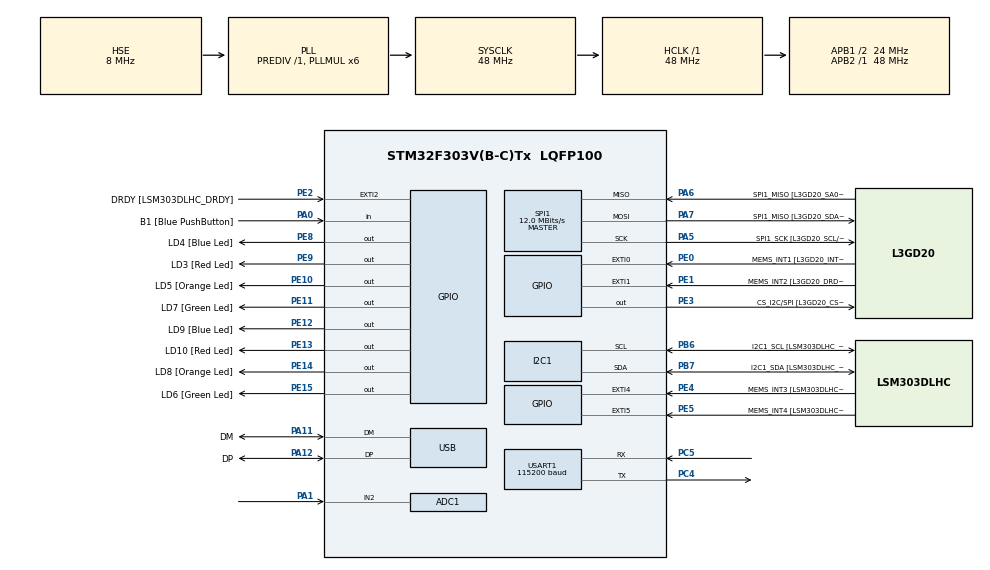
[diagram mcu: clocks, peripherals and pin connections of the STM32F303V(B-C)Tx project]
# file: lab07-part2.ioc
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ADC1.Channel-0\#ChannelRegularConversion=ADC_CHANNEL_2
ADC1.ContinuousConvMode=ENABLE
ADC1.NbrOfConversionFlag=1
ADC1.Offset-0\#ChannelRegularConversion=0
ADC1.OffsetNumber-0\#ChannelRegularConversion=ADC_OFFSET_NONE
ADC1.Rank-0\#ChannelRegularConversion=1
ADC1.SamplingTime-0\#ChannelRegularConversion=ADC_SAMPLETIME_181CYCLES_5
ADC1.SamplingTimeOPAMP-0\#ChannelRegularConversion=ADC_SAMPLETIME_19CYCLES_5
ADC1.master=1
I2C1.Timing=0x2000090E
I2C1.Timing-I2C=0x2000090E
Mcu.Family=STM32F3
Mcu.Name=STM32F303V(B-C)Tx
Mcu.Package=LQFP100
NVIC.ADC1_2_IRQn=true\:0\:0\:false\:false\:true\:true\:true\:true
NVIC.PriorityGroup=NVIC_PRIORITYGROUP_0
NVIC.USB_LP_CAN_RX0_IRQn=true\:0\:0\:false\:false\:true\:false\:true\:true
PA0.GPIO_Label=B1 [Blue PushButton]
PA0.Signal=GPIO_Input
PA1.Mode=IN2-Single-Ended
PA1.Signal=ADC1_IN2
PA11.GPIO_Label=DM
PA11.Mode=Device
PA11.Signal=USB_DM
PA12.GPIO_Label=DP
PA12.Mode=Device
PA12.Signal=USB_DP
PA13.GPIO_Label=SWDIO
PA13.Mode=Serial_Wire
PA13.Signal=SYS_JTMS-SWDIO
PA14.GPIO_Label=SWCLK
PA14.Mode=Serial_Wire
PA14.Signal=SYS_JTCK-SWCLK
PA5.GPIO_Label=SPI1_SCK [L3GD20_SCL/SPC]
PA5.Mode=Full_Duplex_Master
PA5.Signal=SPI1_SCK
PA6.GPIO_Label=SPI1_MISO [L3GD20_SA0/SDO]
PA6.Mode=Full_Duplex_Master
PA6.Signal=SPI1_MISO
PA7.GPIO_Label=SPI1_MISO [L3GD20_SDA/SDI/SDO]
PA7.Mode=Full_Duplex_Master
PA7.Signal=SPI1_MOSI
PB3.GPIO_Label=SWO
PB3.Signal=SYS_JTDO-TRACESWO
PB6.GPIO_Label=I2C1_SCL [LSM303DLHC_SCL]
PB6.GPIO_Pu=GPIO_PULLUP
PB6.Mode=I2C
PB6.Signal=I2C1_SCL
PB7.GPIO_Label=I2C1_SDA [LSM303DLHC_SDA]
PB7.GPIO_Pu=GPIO_PULLUP
PB7.Mode=I2C
PB7.Signal=I2C1_SDA
PC14-OSC32_IN.GPIO_Label=OSC32_IN
PC14-OSC32_IN.Signal=RCC_OSC32_IN
PC15-OSC32_OUT.GPIO_Label=OSC32_OUT
PC15-OSC32_OUT.Signal=RCC_OSC32_OUT
PC4.Mode=Asynchronous
PC4.Signal=USART1_TX
PC5.Mode=Asynchronous
PC5.Signal=USART1_RX
PE0.GPIO_Label=MEMS_INT1 [L3GD20_INT1]
PE0.GPIO_ModeDefaultEXTI=GPIO_MODE_EVT_RISING
PE0.Signal=GPXTI0
PE1.GPIO_Label=MEMS_INT2 [L3GD20_DRDY/INT2]
PE1.GPIO_ModeDefaultEXTI=GPIO_MODE_EVT_RISING
PE1.Signal=GPXTI1
PE10.GPIO_Label=LD5 [Orange Led]
PE10.Signal=GPIO_Output
PE11.GPIO_Label=LD7 [Green Led]
PE11.Signal=GPIO_Output
PE12.GPIO_Label=LD9 [Blue Led]
PE12.Signal=GPIO_Output
PE13.GPIO_Label=LD10 [Red Led]
PE13.Signal=GPIO_Output
PE14.GPIO_Label=LD8 [Orange Led]
PE14.Signal=GPIO_Output
PE15.GPIO_Label=LD6 [Green Led]
PE15.Signal=GPIO_Output
PE2.GPIO_Label=DRDY [LSM303DLHC_DRDY]
PE2.GPIO_ModeDefaultEXTI=GPIO_MODE_EVT_RISING
PE2.Signal=GPXTI2
PE3.GPIO_Label=CS_I2C/SPI [L3GD20_CS_I2C/SPI]
PE3.Signal=GPIO_Output
PE4.GPIO_Label=MEMS_INT3 [LSM303DLHC_INT1]
PE4.GPIO_ModeDefaultEXTI=GPIO_MODE_EVT_RISING
PE4.Signal=GPXTI4
PE5.GPIO_Label=MEMS_INT4 [LSM303DLHC_INT2]
PE5.GPIO_ModeDefaultEXTI=GPIO_MODE_EVT_RISING
PE5.Signal=GPXTI5
PE8.GPIO_Label=LD4 [Blue Led]
PE8.Signal=GPIO_Output
PE9.GPIO_Label=LD3 [Red Led]
PE9.Signal=GPIO_Output
PF0-OSC_IN.GPIO_Label=OSC_IN
PF0-OSC_IN.Mode=HSE-External-Clock-Source
PF0-OSC_IN.Signal=RCC_OSC_IN
PF1-OSC_OUT.GPIO_Label=OSC_OUT
PF1-OSC_OUT.Signal=RCC_OSC_OUT
ProjectManager.HeapSize=0x200
ProjectManager.StackSize=0x400
ProjectManager.TargetToolchain=CMake
RCC.AHBFreq_Value=48000000
RCC.APB1CLKDivider=RCC_HCLK_DIV2
RCC.APB1Freq_Value=24000000
RCC.APB1TimFreq_Value=48000000
RCC.APB2Freq_Value=48000000
RCC.APB2TimFreq_Value=48000000
RCC.CortexFreq_Value=48000000
RCC.HCLKFreq_Value=48000000
RCC.HSE_VALUE=8000000
RCC.HSI_VALUE=8000000
RCC.LSE_VALUE=32768
RCC.PLLMUL=RCC_PLL_MUL6
RCC.SYSCLKFreq_VALUE=48000000
RCC.SYSCLKSourceVirtual=RCC_SYSCLKSOURCE_PLLCLK
RCC.USBFreq_Value=48000000
SPI1.BaudRatePrescaler=SPI_BAUDRATEPRESCALER_4
SPI1.BaudRatePrescaler-Full_Duplex_Master=SPI_BAUDRATEPRESCALER_2
SPI1.CalculateBaudRate=12.0 MBits/s
SPI1.CalculateBaudRate-Full_Duplex_Master=24.0 MBits/s
SPI1.Direction=SPI_DIRECTION_2LINES
SPI1.Mode=SPI_MODE_MASTER
SPI1.Mode-Full_Duplex_Master=SPI_MODE_MASTER
SPI1.VirtualType=VM_MASTER
USART1.BaudRate=115200
USART1.VirtualMode-Asynchronous=VM_ASYNC
USB_DEVICE.CLASS_NAME_FS=CDC
USB_DEVICE.VirtualMode=Cdc
USB_DEVICE.VirtualModeFS=Cdc_FS
VP_USB_DEVICE_VS_USB_DEVICE_CDC_FS.Mode=CDC_FS
board=STM32F3DISCOVERY

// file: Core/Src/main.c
/* USER CODE BEGIN Header */
/**
  ******************************************************************************
  * @file           : main.c
  * @brief          : Main program body
  ******************************************************************************
  * @attention
  *
  * Copyright (c) 2026 STMicroelectronics.
  * All rights reserved.
  *
  * This software is licensed under terms that can be found in the LICENSE file
  * in the root directory of this software component.
  * If no LICENSE file comes with this software, it is provided AS-IS.
  *
  ******************************************************************************
  */
/* USER CODE END Header */
#include "main.h"
#include "usb_device.h"

/* USER CODE BEGIN Includes */
#include <stdio.h>

#if __has_include("arm_math.h")
#include "arm_math.h"
#else
typedef float float32_t;

static float32_t arm_mean_f32(const float32_t *pSrc, uint32_t blockSize, float32_t *pResult)
{
    float32_t sum = 0.0f;

    if (pResult == NULL)
    {
        return 0.0f;
    }

    if (pSrc == NULL || blockSize == 0U)
    {
        *pResult = 0.0f;
        return 0.0f;
    }

    for (uint32_t i = 0; i < blockSize; ++i)
    {
        sum += pSrc[i];
    }

    *pResult = sum / (float32_t)blockSize;
    return *pResult;
}
#endif
/* USER CODE END Includes */

/* USER CODE BEGIN PD */
#define FILTER_LEN 10
/* USER CODE END PD */

ADC_HandleTypeDef hadc1;

I2C_HandleTypeDef hi2c1;

SPI_HandleTypeDef hspi1;

UART_HandleTypeDef huart1;

/* USER CODE BEGIN PV */
float32_t inputBuffer[FILTER_LEN] = {0};
float32_t filteredValue = 0;

uint32_t sampleIndex = 0;
uint32_t sampleCount = 0;

volatile uint32_t raw_mV = 0;
volatile uint32_t filtered_mV = 0;
volatile uint8_t dataReady = 0;
/* USER CODE END PV */

void SystemClock_Config(void);
static void MX_GPIO_Init(void);
static void MX_ADC1_Init(void);
static void MX_I2C1_Init(void);
static void MX_SPI1_Init(void);
static void MX_USART1_UART_Init(void);

/* USER CODE BEGIN 0 */

int _write(int file, char *ptr, int len)
{
  HAL_UART_Transmit(&huart1, (uint8_t*)ptr,len, HAL_MAX_DELAY);
  return len;
}

void apply_moving_average(float32_t new_sample)
{
    inputBuffer[sampleIndex] = new_sample;
    sampleIndex = (sampleIndex + 1) % FILTER_LEN;

    if (sampleCount < FILTER_LEN)
    {
        sampleCount++;
    }

    arm_mean_f32(inputBuffer, sampleCount, &filteredValue);
}

void HAL_ADC_ConvCpltCallback(ADC_HandleTypeDef *hadc)
{
    if (hadc->Instance == ADC1)
    {
        uint32_t adcValue = HAL_ADC_GetValue(hadc);

        float32_t voltage =
            adcValue * 3.3f / 4095.0f;

        apply_moving_average(voltage);

        raw_mV = (uint32_t)(voltage * 1000.0f);
        filtered_mV =
            (uint32_t)(filteredValue * 1000.0f);

        dataReady = 1;
    }
}

/* USER CODE END 0 */

int main(void)
{

  /* MCU Configuration--------------------------------------------------------*/

  /* Reset of all peripherals, Initializes the Flash interface and the Systick. */
  HAL_Init();

  /* Configure the system clock */
  SystemClock_Config();

  /* Initialize all configured peripherals */
  MX_GPIO_Init();
  MX_ADC1_Init();
  MX_I2C1_Init();
  MX_SPI1_Init();
  MX_USART1_UART_Init();
  MX_USB_DEVICE_Init();
  /* USER CODE BEGIN 2 */
HAL_ADCEx_Calibration_Start(&hadc1, ADC_SINGLE_ENDED);
HAL_ADC_Start_IT(&hadc1);
  /* USER CODE END 2 */

  /* Infinite loop */
  while (1)
  {

    /* USER CODE BEGIN 3 */
    if (dataReady)
{
    uint32_t raw;
    uint32_t filtered;

    __disable_irq();

    raw = raw_mV;
    filtered = filtered_mV;
    dataReady = 0;

    __enable_irq();

    printf("%lu,%lu\r\n",
           (unsigned long)raw,
           (unsigned long)filtered);
}

  }
  /* USER CODE END 3 */
}

void SystemClock_Config(void)
{
  RCC_OscInitTypeDef RCC_OscInitStruct = {0};
  RCC_ClkInitTypeDef RCC_ClkInitStruct = {0};
  RCC_PeriphCLKInitTypeDef PeriphClkInit = {0};

  /** Initializes the RCC Oscillators according to the specified parameters
  * in the RCC_OscInitTypeDef structure.
  */
  RCC_OscInitStruct.OscillatorType = RCC_OSCILLATORTYPE_HSI|RCC_OSCILLATORTYPE_HSE;
  RCC_OscInitStruct.HSEState = RCC_HSE_BYPASS;
  RCC_OscInitStruct.HSEPredivValue = RCC_HSE_PREDIV_DIV1;
  RCC_OscInitStruct.HSIState = RCC_HSI_ON;
  RCC_OscInitStruct.HSICalibrationValue = RCC_HSICALIBRATION_DEFAULT;
  RCC_OscInitStruct.PLL.PLLState = RCC_PLL_ON;
  RCC_OscInitStruct.PLL.PLLSource = RCC_PLLSOURCE_HSE;
  RCC_OscInitStruct.PLL.PLLMUL = RCC_PLL_MUL6;
  if (HAL_RCC_OscConfig(&RCC_OscInitStruct) != HAL_OK)
  {
    Error_Handler();
  }

  /** Initializes the CPU, AHB and APB buses clocks
  */
  RCC_ClkInitStruct.ClockType = RCC_CLOCKTYPE_HCLK|RCC_CLOCKTYPE_SYSCLK
                              |RCC_CLOCKTYPE_PCLK1|RCC_CLOCKTYPE_PCLK2;
  RCC_ClkInitStruct.SYSCLKSource = RCC_SYSCLKSOURCE_PLLCLK;
  RCC_ClkInitStruct.AHBCLKDivider = RCC_SYSCLK_DIV1;
  RCC_ClkInitStruct.APB1CLKDivider = RCC_HCLK_DIV2;
  RCC_ClkInitStruct.APB2CLKDivider = RCC_HCLK_DIV1;

  if (HAL_RCC_ClockConfig(&RCC_ClkInitStruct, FLASH_LATENCY_1) != HAL_OK)
  {
    Error_Handler();
  }
  PeriphClkInit.PeriphClockSelection = RCC_PERIPHCLK_USB|RCC_PERIPHCLK_USART1
                              |RCC_PERIPHCLK_I2C1|RCC_PERIPHCLK_ADC12;
  PeriphClkInit.Usart1ClockSelection = RCC_USART1CLKSOURCE_PCLK2;
  PeriphClkInit.Adc12ClockSelection = RCC_ADC12PLLCLK_DIV1;
  PeriphClkInit.I2c1ClockSelection = RCC_I2C1CLKSOURCE_HSI;
  PeriphClkInit.USBClockSelection = RCC_USBCLKSOURCE_PLL;
  if (HAL_RCCEx_PeriphCLKConfig(&PeriphClkInit) != HAL_OK)
  {
    Error_Handler();
  }
}

static void MX_ADC1_Init(void)
{

  ADC_MultiModeTypeDef multimode = {0};
  ADC_ChannelConfTypeDef sConfig = {0};

  /** Common config
  */
  hadc1.Instance = ADC1;
  hadc1.Init.ClockPrescaler = ADC_CLOCK_ASYNC_DIV1;
  hadc1.Init.Resolution = ADC_RESOLUTION_12B;
  hadc1.Init.ScanConvMode = ADC_SCAN_DISABLE;
  hadc1.Init.ContinuousConvMode = ENABLE;
  hadc1.Init.DiscontinuousConvMode = DISABLE;
  hadc1.Init.ExternalTrigConvEdge = ADC_EXTERNALTRIGCONVEDGE_NONE;
  hadc1.Init.ExternalTrigConv = ADC_SOFTWARE_START;
  hadc1.Init.DataAlign = ADC_DATAALIGN_RIGHT;
  hadc1.Init.NbrOfConversion = 1;
  hadc1.Init.DMAContinuousRequests = DISABLE;
  hadc1.Init.EOCSelection = ADC_EOC_SINGLE_CONV;
  hadc1.Init.LowPowerAutoWait = DISABLE;
  hadc1.Init.Overrun = ADC_OVR_DATA_OVERWRITTEN;
  if (HAL_ADC_Init(&hadc1) != HAL_OK)
  {
    Error_Handler();
  }

  /** Configure the ADC multi-mode
  */
  multimode.Mode = ADC_MODE_INDEPENDENT;
  if (HAL_ADCEx_MultiModeConfigChannel(&hadc1, &multimode) != HAL_OK)
  {
    Error_Handler();
  }

  /** Configure Regular Channel
  */
  sConfig.Channel = ADC_CHANNEL_2;
  sConfig.Rank = ADC_REGULAR_RANK_1;
  sConfig.SingleDiff = ADC_SINGLE_ENDED;
  sConfig.SamplingTime = ADC_SAMPLETIME_181CYCLES_5;
  sConfig.OffsetNumber = ADC_OFFSET_NONE;
  sConfig.Offset = 0;
  if (HAL_ADC_ConfigChannel(&hadc1, &sConfig) != HAL_OK)
  {
    Error_Handler();
  }

}

static void MX_I2C1_Init(void)
{

  hi2c1.Instance = I2C1;
  hi2c1.Init.Timing = 0x2000090E;
  hi2c1.Init.OwnAddress1 = 0;
  hi2c1.Init.AddressingMode = I2C_ADDRESSINGMODE_7BIT;
  hi2c1.Init.DualAddressMode = I2C_DUALADDRESS_DISABLE;
  hi2c1.Init.OwnAddress2 = 0;
  hi2c1.Init.OwnAddress2Masks = I2C_OA2_NOMASK;
  hi2c1.Init.GeneralCallMode = I2C_GENERALCALL_DISABLE;
  hi2c1.Init.NoStretchMode = I2C_NOSTRETCH_DISABLE;
  if (HAL_I2C_Init(&hi2c1) != HAL_OK)
  {
    Error_Handler();
  }

  /** Configure Analogue filter
  */
  if (HAL_I2CEx_ConfigAnalogFilter(&hi2c1, I2C_ANALOGFILTER_ENABLE) != HAL_OK)
  {
    Error_Handler();
  }

  /** Configure Digital filter
  */
  if (HAL_I2CEx_ConfigDigitalFilter(&hi2c1, 0) != HAL_OK)
  {
    Error_Handler();
  }

}

static void MX_SPI1_Init(void)
{

  /* SPI1 parameter configuration*/
  hspi1.Instance = SPI1;
  hspi1.Init.Mode = SPI_MODE_MASTER;
  hspi1.Init.Direction = SPI_DIRECTION_2LINES;
  hspi1.Init.DataSize = SPI_DATASIZE_4BIT;
  hspi1.Init.CLKPolarity = SPI_POLARITY_LOW;
  hspi1.Init.CLKPhase = SPI_PHASE_1EDGE;
  hspi1.Init.NSS = SPI_NSS_SOFT;
  hspi1.Init.BaudRatePrescaler = SPI_BAUDRATEPRESCALER_4;
  hspi1.Init.FirstBit = SPI_FIRSTBIT_MSB;
  hspi1.Init.TIMode = SPI_TIMODE_DISABLE;
  hspi1.Init.CRCCalculation = SPI_CRCCALCULATION_DISABLE;
  hspi1.Init.CRCPolynomial = 7;
  hspi1.Init.CRCLength = SPI_CRC_LENGTH_DATASIZE;
  hspi1.Init.NSSPMode = SPI_NSS_PULSE_ENABLE;
  if (HAL_SPI_Init(&hspi1) != HAL_OK)
  {
    Error_Handler();
  }

}

static void MX_USART1_UART_Init(void)
{

  huart1.Instance = USART1;
  huart1.Init.BaudRate = 115200;
  huart1.Init.WordLength = UART_WORDLENGTH_8B;
  huart1.Init.StopBits = UART_STOPBITS_1;
  huart1.Init.Parity = UART_PARITY_NONE;
  huart1.Init.Mode = UART_MODE_TX_RX;
  huart1.Init.HwFlowCtl = UART_HWCONTROL_NONE;
  huart1.Init.OverSampling = UART_OVERSAMPLING_16;
  huart1.Init.OneBitSampling = UART_ONE_BIT_SAMPLE_DISABLE;
  huart1.AdvancedInit.AdvFeatureInit = UART_ADVFEATURE_NO_INIT;
  if (HAL_UART_Init(&huart1) != HAL_OK)
  {
    Error_Handler();
  }

}

static void MX_GPIO_Init(void)
{
  GPIO_InitTypeDef GPIO_InitStruct = {0};

  /* GPIO Ports Clock Enable */
  __HAL_RCC_GPIOE_CLK_ENABLE();
  __HAL_RCC_GPIOC_CLK_ENABLE();
  __HAL_RCC_GPIOF_CLK_ENABLE();
  __HAL_RCC_GPIOA_CLK_ENABLE();
  __HAL_RCC_GPIOB_CLK_ENABLE();

  /*Configure GPIO pin Output Level */
  HAL_GPIO_WritePin(GPIOE, CS_I2C_SPI_Pin|LD4_Pin|LD3_Pin|LD5_Pin
                          |LD7_Pin|LD9_Pin|LD10_Pin|LD8_Pin
                          |LD6_Pin, GPIO_PIN_RESET);

  /*Configure GPIO pins : DRDY_Pin MEMS_INT3_Pin MEMS_INT4_Pin MEMS_INT1_Pin
                           MEMS_INT2_Pin */
  GPIO_InitStruct.Pin = DRDY_Pin|MEMS_INT3_Pin|MEMS_INT4_Pin|MEMS_INT1_Pin
                          |MEMS_INT2_Pin;
  GPIO_InitStruct.Mode = GPIO_MODE_EVT_RISING;
  GPIO_InitStruct.Pull = GPIO_NOPULL;
  HAL_GPIO_Init(GPIOE, &GPIO_InitStruct);

  /*Configure GPIO pins : CS_I2C_SPI_Pin LD4_Pin LD3_Pin LD5_Pin
                           LD7_Pin LD9_Pin LD10_Pin LD8_Pin
                           LD6_Pin */
  GPIO_InitStruct.Pin = CS_I2C_SPI_Pin|LD4_Pin|LD3_Pin|LD5_Pin
                          |LD7_Pin|LD9_Pin|LD10_Pin|LD8_Pin
                          |LD6_Pin;
  GPIO_InitStruct.Mode = GPIO_MODE_OUTPUT_PP;
  GPIO_InitStruct.Pull = GPIO_NOPULL;
  GPIO_InitStruct.Speed = GPIO_SPEED_FREQ_LOW;
  HAL_GPIO_Init(GPIOE, &GPIO_InitStruct);

  /*Configure GPIO pin : B1_Pin */
  GPIO_InitStruct.Pin = B1_Pin;
  GPIO_InitStruct.Mode = GPIO_MODE_INPUT;
  GPIO_InitStruct.Pull = GPIO_NOPULL;
  HAL_GPIO_Init(B1_GPIO_Port, &GPIO_InitStruct);

}

void Error_Handler(void)
{
  __disable_irq();
  while (1)
  {
  }
}
